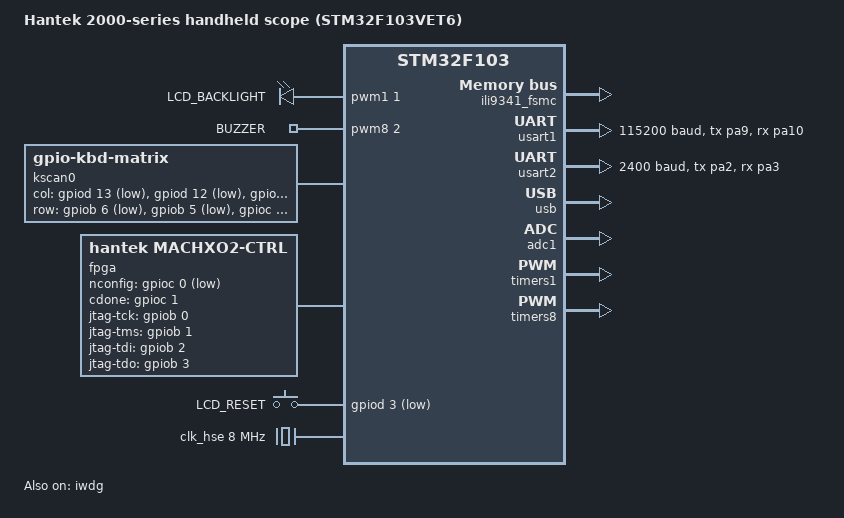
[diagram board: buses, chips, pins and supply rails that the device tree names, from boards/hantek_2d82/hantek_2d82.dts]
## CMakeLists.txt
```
cmake_minimum_required(VERSION 3.20.0)

# Out-of-tree board: hantek_2d82 lives in ./boards/hantek_2d82/. BOARD_ROOT = app dir
# so Zephyr finds boards/<name>/board.yml here.
list(APPEND BOARD_ROOT ${CMAKE_CURRENT_SOURCE_DIR})

# Out-of-tree snippet: mcuboot-hantek_2d82 (Option C flash layout) lives in
# ./snippets/. SNIPPET_ROOT = app dir so Zephyr/sysbuild finds it without
# needing to be added to any west manifest. See
# snippets/mcuboot-hantek_2d82/snippet.yml and docs/hantek/flash-layout.md.
list(APPEND SNIPPET_ROOT ${CMAKE_CURRENT_SOURCE_DIR})

list(APPEND EXTRA_ZEPHYR_MODULES ${CMAKE_CURRENT_SOURCE_DIR}/../a2k_board)
list(APPEND EXTRA_ZEPHYR_MODULES ${CMAKE_CURRENT_SOURCE_DIR}/../lib)
# awto_board excluded: contains ESP32-specific headers (soc/rtc_cntl_reg.h) that break STM32 build.
# lib/ is a Zephyr module (lib/zephyr/module.yml) — builds pure C + STM32 + Zephyr glue in one pass.

find_package(Zephyr REQUIRED HINTS $ENV{ZEPHYR_BASE})
project(a2k_app VERSION 0.1 LANGUAGES C)

target_include_directories(app PRIVATE src)

target_sources(app PRIVATE
    src/main.c
    src/screens/screen_placeholder.c
    src/screens/screen_generic.c
    src/screens/screen_boot.c
    src/screens/screen_waveform.c
    src/screens/screen_dmm.c
    src/screens/screen_awg.c
    src/screens/screen_menu.c
    src/screens/screen_cal.c
)
```

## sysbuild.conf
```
# Sysbuild configuration — Option C (MCUboot) variant.
#
# Inert unless the build is invoked with --sysbuild (plain `west build` without
# --sysbuild ignores this file entirely and produces the Option B single-image
# build, app @ 0x08005000, vendor bootloader preserved — see prj.conf).
#
# See docs/hantek/flash-layout.md, "Option C" for the full picture and the
# exact build/flash/recovery commands.

SB_CONFIG_BOOTLOADER_MCUBOOT=y

# Single-slot: MCUboot only ever boots slot0_partition. No slot1/OTA staging,
# no scratch partition — smallest realistic flash commitment for a first cut
# on a 512 KB part. The intended field-update path is MCUboot's own serial
# recovery (CONFIG_MCUBOOT_SERIAL, USART1) rather than an in-band OTA swap —
# NOT YET ENABLED this pass (see sysbuild/mcuboot.conf for why); until it is,
# updates require SWD, same as the initial install. See
# docs/hantek/flash-layout.md, "Option C — known gaps".
SB_CONFIG_MCUBOOT_MODE_SINGLE_APP=y

# ED25519: smallest code-size signature scheme MCUboot supports (vs RSA/ECDSA
# P256), and the STM32F103 here has no hardware crypto accelerator — every
# scheme runs in software, so the smaller one wins on flash footprint. Uses
# MCUboot's own software SHA256 for the image hash (also software on this MCU).
SB_CONFIG_BOOT_SIGNATURE_TYPE_ED25519=y

# Signing key intentionally left at MCUboot's own default
# ($ZEPHYR_MCUBOOT_MODULE_DIR/root-ed25519.pem, a well-known public dev/sample
# key shipped with every MCUboot checkout). Fine for Renode verification and
# bring-up; anyone shipping signed field updates for real must generate their
# own key (imgtool keygen) and override SB_CONFIG_BOOT_SIGNATURE_KEY_FILE —
# see docs/hantek/flash-layout.md, "Option C" for the exact command.
```

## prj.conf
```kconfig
# Hantek 2D82 — first-stage firmware
# UART shell on USART1 (PA9 TX / PA10 RX, 115200 8N1).
# Proves: shell reachable, backlight (PA8), buzzer (PC7) all working.

CONFIG_SHELL=y
CONFIG_SHELL_BACKEND_SERIAL=y
CONFIG_KERNEL_SHELL=y
CONFIG_DEVICE_SHELL=y
CONFIG_REBOOT=y
CONFIG_RESET_ON_FATAL_ERROR=y

CONFIG_LOG=y
CONFIG_LOG_BACKEND_UART=y
CONFIG_LOG_MODE_IMMEDIATE=y
CONFIG_SHELL_LOG_BACKEND=n

# USB diagnostics: keep UART console on USART1 and add a CDC ACM port for logs.
CONFIG_USB_DEVICE_STACK=y
CONFIG_USB_CDC_ACM=y
CONFIG_UART_LINE_CTRL=y

# Hantek vendor DFU bootloader occupies 0x08000000..0x08004FFF (20 KB).
# App must link from 0x08005000 so the vector table is at the right address
# when the bootloader jumps to slot0 (reads SP from [0x08005000], PC from [0x08005004]).
CONFIG_FLASH_LOAD_OFFSET=0x5000

CONFIG_AW2_BACKLIGHT=n
CONFIG_AW2_LCD=y
CONFIG_AW2_LCD_DEBUG=n
CONFIG_AW2_RENODE_DETECT=y
CONFIG_AW2_FPGA=y
CONFIG_AW2_DMM=y
CONFIG_AW2_BATTERY=y
CONFIG_AW2_CALIBRATION=y
CONFIG_AW2_KEYPAD=y
CONFIG_AW2_PROBE_COMP=n
CONFIG_AW2_USB=y
CONFIG_AW2_USB_DIAG=y
CONFIG_AW2_AWG=n
CONFIG_INPUT=y
CONFIG_INPUT_GPIO_KBD_MATRIX=y
CONFIG_DMA=n
CONFIG_PWM=n
CONFIG_DISPLAY=y

# LVGL — issue #125: partial-render buffers sized close to the ~8KB/4096px target.
# This Zephyr LVGL module (modules/lvgl/Kconfig.memory) only offers LV_Z_VDB_SIZE as
# a PERCENTAGE of hor_res*ver_res, not an absolute pixel/byte count — there's no
# CONFIG_LV_Z_DISPLAY_BUFFER_SIZE in this Zephyr version. 6% of 320x240 = 4608px =
# 9216 bytes/buffer (closest percentage to the 4096px/8KB target; 5% undershoots to
# 3840px/7.5KB). LV_Z_DOUBLE_VDB gives exactly 2 buffers (buf0/buf1) — this module
# has no static-alloc path for a 3rd buffer, so triple-buffering from the issue text
# isn't available without hand-rolling buffer management outside lvgl.c; double
# buffering (render into buf[N+1] while buf[N] flushes) already captures the main
# benefit. 2 × 9KB = 18KB, well within the 24KB budget the issue sets aside.
# Render mode is LV_DISPLAY_RENDER_MODE_PARTIAL (lvgl.c lvgl_allocate_rendering_buffers_static),
# i.e. flush_cb (a2k_board lcd.c: zd_write) is called once per buffer, not full-screen.
CONFIG_LVGL=y
CONFIG_LV_Z_VDB_SIZE=6
CONFIG_LV_Z_DOUBLE_VDB=y
CONFIG_LV_COLOR_DEPTH_16=y
CONFIG_LV_Z_AUTO_INIT=y
# 256KB LVGL heap — unconstrained for Renode testing (sram0 extended to 1MB in DTS)
CONFIG_LV_Z_MEM_POOL_SIZE=262144
# Large stacks — no RAM pressure in emulation
CONFIG_MAIN_STACK_SIZE=32768
CONFIG_IDLE_STACK_SIZE=4096
CONFIG_SPI=y
CONFIG_ADC=y
CONFIG_NVS=y
CONFIG_FLASH=y
CONFIG_FLASH_PAGE_LAYOUT=y
CONFIG_FLASH_MAP=y
```

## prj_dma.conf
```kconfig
# Optional app config overlay: enable DMA-backed paths.
#
# Use with west via EXTRA_CONF_FILE, for example:
# west build -b hantek_2d82 code/app -- -DEXTRA_CONF_FILE=prj_dma.conf
#
# Keep this overlay off for baseline Renode runs unless you explicitly want to
# exercise hardware-only code paths.

CONFIG_DMA=y
CONFIG_AW2_HW_VALIDATED=y
```

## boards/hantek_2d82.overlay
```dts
/*
 * app application overlay for hantek_2d82.
 * Disables peripherals not needed for first-stage bring-up: watchdog
 * (not fed → would reset), and the
 * custom FPGA/DMM/capture nodes (no drivers compiled in yet — disabling
 * avoids DTS binding warnings).
 */

/ {
	chosen {
		/* Only consulted when CONFIG_BOOTLOADER_MCUBOOT selects
		 * CONFIG_USE_DT_CODE_PARTITION (Option C / mcuboot-hantek_2d82
		 * snippet build) — inert for the default Option B build, where
		 * CONFIG_FLASH_LOAD_OFFSET=0x5000 (prj.conf) is used directly instead.
		 * Mirrors MCUboot's own boot/zephyr/app.overlay, which sets this to
		 * &boot_partition for the mcuboot image itself; the app needs the
		 * same treatment pointed at slot0_partition, or CONFIG_FLASH_LOAD_OFFSET
		 * silently falls back to 0 (app links on top of MCUboot — found
		 * during Renode build verification of the Option C variant). See
		 * docs/hantek/flash-layout.md, "Option C" and
		 * snippets/mcuboot-hantek_2d82/boards/hantek_2d82.overlay for the
		 * partition table this label resolves against under Option C. */
		zephyr,code-partition = &slot0_partition;
	};
};

&iwdg {
	status = "disabled";
};

/* Disable custom-compatible nodes that have no Zephyr binding yet. */
&fpga {
	status = "disabled";
};

&dmm {
	status = "disabled";
};

&capture {
	status = "disabled";
};

/* adc1 in board DTS has pinctrl-names but no pinctrl-0 — disable until ADC is needed. */
&adc1 {
	status = "disabled";
};
```

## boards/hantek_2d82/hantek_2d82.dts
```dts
/*
 * Hantek 2000-series handheld scope (2D82AUTO / 2D72 / 2D42 / 2C72 / 2C42)
 * Zephyr board devicetree — a STARTING POINT for clean-room firmware.
 *
 * Derived from firmware reverse-engineering (see docs/hantek/):
 *   MCU   STM32F103VET6  (Cortex-M3, 512K flash / 64K RAM, 100-pin, HAS FSMC)
 *   FPGA  Lattice MachXO2 (capture engine) -- GPIO/SPI control (NOT memory-mapped)
 *   ADC   AD9288 dual 8-bit 40MSPS -> FPGA (not MCU)
 *   DAC   3PD5651E 12-bit parallel (=DAC902) -- AWG, streamed by FPGA
 *   DMM   CS7721 ICL7106-class dual-slope ADC -- slow serial read
 *   AMP   EL5166/LMH6702 -- AWG output buffer (analog)
 *   LCD   parallel TFT on FSMC bank1 @0x60000000 (reads pGLCD_ID at init)
 *   Keys  F1-F4 + arrows + Power (GPIO scan; F1+Power = DFU entry)
 *
 * VERIFIED markers:  [V]=seen in firmware  [?]=inferred, NEEDS board tracing.
 * Pin numbers below are PLACEHOLDERS [?] -- trace the PCB / read the firmware GPIO
 * init to fill real ports. The app at 0x08005000 (20K bootloader); see /chosen.
 */

/dts-v1/;
#include <st/f1/stm32f103Xe.dtsi>
#include <st/f1/stm32f103v(c-d-e)tx-pinctrl.dtsi>
#include <zephyr/dt-bindings/gpio/gpio.h>
#include <zephyr/dt-bindings/pwm/pwm.h>

/ {
	model = "Hantek 2000-series handheld scope (STM32F103VET6)";
	compatible = "hantek,2d82", "st,stm32f103";

	chosen {
		zephyr,sram = &sram0;
		zephyr,flash = &flash0;
		/* console: a TTL/UART debug port exists (the 'Program Arm1' 3.3V header) [V] */
		zephyr,console = &usart1;
		zephyr,shell-uart = &usart1;
		zephyr,keyboard-scan = &kscan0;
	};

	/* LCD backlight: PA8 = TIM1_CH1 [V]. Buzzer: PC7 = TIM8_CH2 [V] (PSC=719 ARR=32 → 3030 Hz).
	 * Both driven via PWM so the clean-room firmware can match OEM behaviour. */
	pwm_leds: pwm-leds {
		compatible = "pwm-leds";
		backlight: backlight {
			pwms = <&pwm1 1 PWM_MSEC(1) PWM_POLARITY_NORMAL>;
			label = "LCD_BACKLIGHT";
		};
	};

	pwm_buzzers: pwm-buzzers {
		compatible = "pwm-leds";
		buzzer: buzzer {
			pwms = <&pwm8 2 PWM_USEC(330) PWM_POLARITY_NORMAL>;
			label = "BUZZER";
		};
	};

	/* 5×4 scanned key matrix = 20 keys.  All pins CONFIRMED from firmware.
	 *
	 * Zephyr gpio-kbd-matrix drives col-gpios as outputs (one low at a time)
	 * and reads row-gpios as inputs.  The OEM does the opposite (rows=outputs,
	 * cols=inputs) — so we swap here: OEM rows → col-gpios, OEM cols → row-gpios.
	 *
	 * OEM rows (now col-gpios, scan outputs, active-low, no pull):
	 *   PD13  PD12  PC3  PB14  PB13
	 * OEM cols (now row-gpios, read inputs, active-low, pull-up to detect press):
	 *   PB6   PB5   PC6   PB12
	 *
	 * Physical key → (row,col) mapping CONFIRMED from vendor-firmware RE.
	 * See docs/hantek/gpio-pinout.md, "Keypad matrix (full)" table, and
	 * key = OEM_row*4 + OEM_col + 1, decoded from ABS_X=col-gpio-idx=OEM row,
	 * ABS_Y=row-gpio-idx=OEM col. Pin
	 * ordering below (col-gpios = Row1..Row5, row-gpios = ColA..ColD) has
	 * been cross-checked against that table and is consistent. */
	kscan0: kscan {
		compatible = "gpio-kbd-matrix";
		status = "okay";
		col-gpios = <&gpiod 13 GPIO_ACTIVE_LOW>,
		            <&gpiod 12 GPIO_ACTIVE_LOW>,
		            <&gpioc 3  GPIO_ACTIVE_LOW>,
		            <&gpiob 14 GPIO_ACTIVE_LOW>,
		            <&gpiob 13 GPIO_ACTIVE_LOW>;
		row-gpios = <&gpiob 6  (GPIO_ACTIVE_LOW | GPIO_PULL_UP)>,
		            <&gpiob 5  (GPIO_ACTIVE_LOW | GPIO_PULL_UP)>,
		            <&gpioc 6  (GPIO_ACTIVE_LOW | GPIO_PULL_UP)>,
		            <&gpiob 12 (GPIO_ACTIVE_LOW | GPIO_PULL_UP)>;
		no-ghostkey-check;
		/* idle-mode defaults to "interrupt", which requires EVERY row-gpio to
		 * arm its own EXTI line. STM32 EXTI lines are shared by pin NUMBER
		 * across all ports (only one port can own EXTIn at a time). PB6 and
		 * PC6 both use bit 6, so the driver's per-row interrupt-configure loop
		 * (input_gpio_kbd_matrix.c: gpio_kbd_matrix_set_detect_mode) succeeds
		 * on PB6 then fails with -EBUSY on PC6 — confirmed via Renode boot log
		 * ("input_gpio_kbd_matrix: Pin 2 interrupt configuration failed: -16").
		 * Net effect: once the matrix goes idle (100ms, poll-timeout-ms
		 * default), only the PB6 row can wake it via interrupt — presses on
		 * the PB5/PC6/PB12 rows would never be detected again after the first
		 * idle timeout. "poll" mode sidesteps EXTI entirely (periodic
		 * re-check via k_work_delayable) and needs no pin-level change. */
		idle-mode = "poll";
	};

	/* MachXO2 FPGA control lines (GPIO bit-bang, NOT FSMC). [V: heavy GPIO; ?: pins]
	 * Runtime: MCU writes config (sample-rate/trigger/AWG-table) + reads capture.
	 * Config/update: JTAG (TCK/TMS/TDI/TDO) bit-banged from GPIO. */
	fpga: fpga-ctrl {
		compatible = "hantek,machxo2-ctrl";   /* custom driver to write */
		/* control/handshake — placeholders, fill from GPIO init trace */
		nconfig-gpios = <&gpioc 0 GPIO_ACTIVE_LOW>;
		cdone-gpios   = <&gpioc 1 GPIO_ACTIVE_HIGH>;
		/* JTAG for bitstream update */
		jtag-tck-gpios = <&gpiob 0 GPIO_ACTIVE_HIGH>;
		jtag-tms-gpios = <&gpiob 1 GPIO_ACTIVE_HIGH>;
		jtag-tdi-gpios = <&gpiob 2 GPIO_ACTIVE_HIGH>;
		jtag-tdo-gpios = <&gpiob 3 GPIO_ACTIVE_HIGH>;
	};

	/* DMM front-end (CS7721, ICL7106-class). Slow serial result + range/func GPIOs.
	 * [V: low-traffic serial; ?: which bus/pins] */
	dmm: cs7721 {
		compatible = "hantek,cs7721-dmm";    /* custom driver to write */
		/* if on SPI1: make it a spi child instead; if bit-bang, list gpios here */
		status = "okay";
	};

	/* Scope analog-capture front-end: AD9288 dual 8-bit ADC -> MachXO2 FPGA -> MCU.
	 * The MCU's ADC1 + DMA1 participate in the local capture path.
	 * Modelled as a node for the (new) capture driver; not a Zephyr adc binding. [V] */
	capture: scope-capture {
		compatible = "hantek,scope-capture";   /* custom driver to write */
		status = "okay";
		/* AD9288 is read by the FPGA, not the MCU; MCU ADC1+DMA1 are the local path */
	};

	aliases {
		backlight = &backlight;
		buzzer    = &buzzer;
		lcd-reset = &lcd_reset;
	};

	gpio_keys: gpio-keys {
		compatible = "gpio-keys";
		lcd_reset: lcd-reset {
			gpios = <&gpiod 3 GPIO_ACTIVE_LOW>;  /* PD3 = ILI9341 RESET# [V] */
			label = "LCD_RESET";
			zephyr,code = <0>;
		};
	};
};

/* ---- Clocks ----
 * The board runs SYSCLK = 72 MHz from an 8 MHz HSE crystal via PLL x9
 *   (AHB 72, APB1 36, APB2 72). [V] confirmed from the clock-config registers.
 */
&clk_hse {
	clock-frequency = <DT_FREQ_M(8)>;   /* 8 MHz crystal [V, from PLLx9->72MHz] */
	status = "okay";
};

&pll {
	mul = <9>;                          /* x9 [V]: 8MHz HSE → 72MHz SYSCLK */
	clocks = <&clk_hse>;
	status = "okay";
};

&rcc {
	clocks = <&pll>;
	clock-frequency = <DT_FREQ_M(72)>;  /* SYSCLK 72 MHz [V] */
	ahb-prescaler = <1>;
	apb1-prescaler = <2>;               /* APB1 36 MHz [V] */
	apb2-prescaler = <1>;               /* APB2 72 MHz [V] */
};

/* ---- Peripherals (literal-pool refs from firmware show which are used) ----
 * Peripherals present/used on this board: ADC1, DMA1, DMA2, SPI1, USART1, USART2,
 * AFIO, FLASH, FSMC, GPIOA-E, TIM1/3/4/5. Enable the ones the new firmware uses: */

&usart1 {                 /* [V] TTL debug/console (3.3V) + STM32 serial bootloader */
	pinctrl-0 = <&usart1_tx_pa9 &usart1_rx_pa10>;
	pinctrl-names = "default";
	current-speed = <115200>;
	status = "okay";
};

&usart2 {                 /* [V] CS7721 DMM serial: PA3 RX @ 2400 8N1 (PA2 TX optional) */
	pinctrl-0 = <&usart2_tx_pa2 &usart2_rx_pa3>;
	pinctrl-names = "default";
	current-speed = <2400>;
	status = "okay";
};

&spi1 {                   /* [V] 2 refs -- FPGA config and/or CS7721 DMM serial */
	/* STM32F1 pinctrl uses _master_/_slave_ suffix for SPI direction */
	pinctrl-0 = <&spi1_sck_master_pa5 &spi1_miso_master_pa6 &spi1_mosi_master_pa7>;
	pinctrl-names = "default";
	status = "disabled";      /* not needed for first stage; enable when FPGA/DMM driver added */
	/* cs-gpios = <...>;  add FPGA / DMM chip-selects when traced */
};

&usb {                    /* [V] USB FS device -- DFU + the Hantek USB control protocol
                           * (already RE'd: VID 0x0483 PID 0x2d42, EP2 out / EP1 in,
                           * 9-byte frame; see hkoosha/hanteker hanteker_lib)
                           * STM32F103 label is &usb (not &usbd which is a different binding) */
	status = "okay";

	cdc_acm_uart0: cdc_acm_uart0 {
		compatible = "zephyr,cdc-acm-uart";
		label = "CDC_ACM_0";
	};
};

/* FSMC LCD — ILI9341 320×240 RGB565 via FSMC Bank1.
 * cmd @ 0x60000000 (A16=0), data @ 0x60020000 (A16=1).
 * No Zephyr FSMC binding exists for STM32F1; driver uses direct MMIO.
 * compatible = "a2k,ili9341-fsmc" matches the binding in a2k_board/dts/bindings/. */
/ {
	chosen {
		zephyr,display = &ili9341_fsmc;
	};

	ili9341_fsmc: ili9341_fsmc@60000000 {
		compatible = "a2k,ili9341-fsmc";
		reg = <0x60000000 0x40000>;   /* cmd+data window */
		width = <320>;
		height = <240>;
		status = "okay";
	};
};

&adc1 {                   /* [V] local ADC (battery/supply sense); scope ADC is the AD9288 on the FPGA */
	/* pinctrl-0 not set yet — ADC channel pins need tracing before enabling */
	status = "okay";
};

&dma1 {                   /* [V] used by the capture path (ADC->mem) */
	status = "okay";
};

&dma2 {                   /* [V] used (LCD/data movement) */
	status = "okay";
};

&timers1 {                /* [V] TIM1_CH1 → PA8 LCD backlight PWM */
	status = "okay";
	st,prescaler = <1>;   /* PSC=1 → 36MHz tick; 1ms period = 36000 counts < 65535 */
	pwm1: pwm {
		compatible = "st,stm32-pwm";
		/* clocks come from the parent &timers1 node (already has bus +
		 * TIMPCLK2 in stm32f1.dtsi) — child clocks are ignored by the driver */
		pinctrl-0 = <&tim1_ch1_pwm_out_pa8>;
		pinctrl-names = "default";
		#pwm-cells = <3>;
		status = "okay";
	};
};

&timers8 {                /* [V] TIM8_CH2 → PC7 buzzer PWM */
	status = "okay";
	st,prescaler = <0>;
	/* pwm_stm32 reads clocks from THIS parent node (DT_INST_PARENT), not the
	 * pwm child. SoC dtsi (stm32f103Xc) only lists the bus clock here — the
	 * TIMPCLK domain clock must be added or pwm init fails with
	 * "Timer clock source is not specified". timers1 already has both in
	 * stm32f1.dtsi. */
	clocks = <&rcc STM32_CLOCK(APB2, 13)>,
	         <&rcc STM32_SRC_TIMPCLK2 NO_SEL>;
	pwm8: pwm {
		compatible = "st,stm32-pwm";
		pinctrl-0 = <&tim8_ch2_pwm_out_pc7>;
		pinctrl-names = "default";
		#pwm-cells = <3>;
		status = "okay";
	};
};

&iwdg {
	status = "okay";
};

/* Renode testing: expand SRAM to 1MB so heap/stack sizes are not constrained.
 * Real HW has 64KB; this override is only for emulation convenience. */
&sram0 {
	reg = <0x20000000 0x100000>;   /* 1MB for Renode testing */
};

/* Flash layout: 20K custom DFU bootloader @0x08000000, app @0x08005000. [V] */
&flash0 {
	partitions {
		compatible = "fixed-partitions";
		#address-cells = <1>;
		#size-cells = <1>;

		boot_partition: partition@0 {
			label = "hantek-dfu-bootloader";  /* vendor DFU, leave intact */
			reg = <0x00000000 0x00005000>;    /* 20 KB */
			read-only;
		};
		slot0_partition: partition@5000 {
			label = "image-0";                /* your firmware goes here */
			reg = <0x00005000 0x0007A000>;    /* ~488 KB — 4KB carved off end for NVS */
		};
		nvs_partition: partition@7f000 {
			label = "nvs";
			reg = <0x0007F000 0x00001000>;    /* 4 KB NVS at top of flash */
		};
	};
};
```

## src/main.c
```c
#include <zephyr/kernel.h>
#include <zephyr/logging/log.h>
#include "a2k_board/supervisor.h"
#include "a2k/ui/screen_mgr.h"
#include "a2k/zephyr/lvgl_task.h"
#include "screens/screen_boot.h"

LOG_MODULE_REGISTER(aw2_main, LOG_LEVEL_INF);

int main(void)
{
	LOG_INF("aw2 — booting (Hantek 2D82)");
	supervisor_init();
	a2k_lvgl_task_init();
	a2k_screen_mgr_init();
	a2k_screen_push(&screen_boot_ops, NULL);
	LOG_INF("init complete — entering supervisor");
	supervisor_run();
	return 0;
}
```
